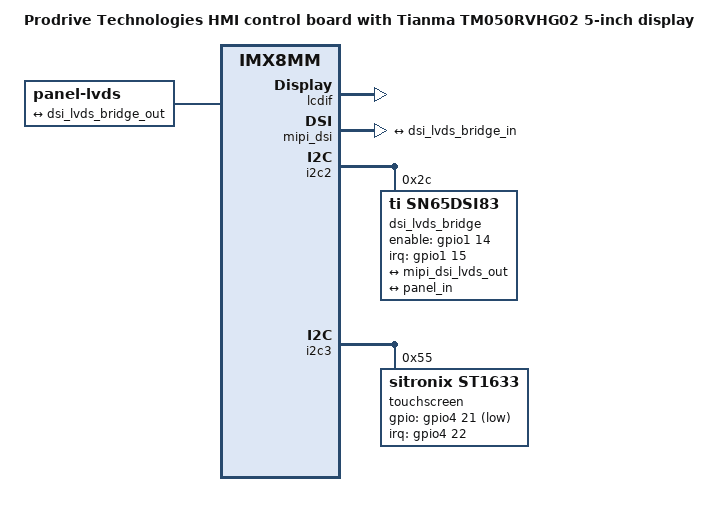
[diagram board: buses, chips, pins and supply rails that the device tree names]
// SPDX-License-Identifier: (GPL-2.0+ OR MIT)
//
// Copyright 2022 Prodrive Technologies

/*
 * This device tree describes the HMI control board, with the Yeebo YB-TG1024600S11A-C-A0 display connected. This is an
 * LVDS display with integrated touchscreen.
 */

// Get the HMI control board base
#include "imx8mm-hmi-cb-base.dtsi"

/ {
	model = "Prodrive Technologies HMI control board with Tianma TM050RVHG02 5-inch display";
	compatible = "pdt,imx8mm-ptic-base", "fsl,imx8mm";

	lvds {
		compatible = "panel-lvds";
		//power-supply = <&reg_lcd_reset>;
		width-mm = <108>;
		height-mm = <123>;
		//backlight = <&backlight_lvds>;
		data-mapping = "vesa-24";

		panel-timing {
			clock-frequency = <30000000>;
			hactive = <800>;
			vactive = <480>;
			hsync-len = <48>;
			hfront-porch = <40>;
			hback-porch = <88>;
			vfront-porch = <13>;
			vback-porch = <32>;
			vsync-len = <3>;
			hsync-active = <1>;
			vsync-active = <1>;
			de-active = <1>;
			pixelclk-active = <1>;
		};

		port@0 {
			panel_in: endpoint {
				remote-endpoint = <&dsi_lvds_bridge_out>;
			};
		};
	};
};

&lcdif {
	status = "okay";
};

&mipi_dsi {
	status = "okay";
	fsl,clock-drop-level = <2>;

	port@1 {
		mipi_dsi_lvds_out: endpoint {
			remote-endpoint = <&dsi_lvds_bridge_in>;
			attach-bridge;
		};
	};
};

&i2c2 {
	status = "okay";

	dsi_lvds_bridge: sn65dsi83@2c {
		#address-cells = <1>;
		#size-cells = <0>;
		compatible = "ti,sn65dsi83";
		reg = <0x2c>;
		enable-gpios = <&gpio1 14 GPIO_ACTIVE_HIGH>;  // DISPLAY_IO9
		interrupt-parent = <&gpio1>;
		interrupts = <15 IRQ_TYPE_LEVEL_HIGH>; // DISPLAY_IO10
		pinctrl-names = "default";
		pinctrl-0 = <&pincrtl_mipi>;
		status = "okay";

		port@0 {
			reg = <0>;
			dsi_lvds_bridge_in: endpoint {
				remote-endpoint = <&mipi_dsi_lvds_out>;
				data-lanes = <1 2 3 4>;
			};
		};

		port@2 {
			reg = <2>;
			dsi_lvds_bridge_out: endpoint {
				remote-endpoint = <&panel_in>;
			};
		};
	};
};

&i2c3 {
	status = "okay";

	touchscreen@55 {
		compatible = "sitronix,st1633";
		reg = <0x55>;
		interrupt-parent = <&gpio4>;
		interrupts = <22 IRQ_TYPE_EDGE_RISING>;
		pinctrl-0 = <&pinctrl_gpio>;
		gpios = <&gpio4 21 GPIO_ACTIVE_LOW>;
		status = "okay";
	};
};
